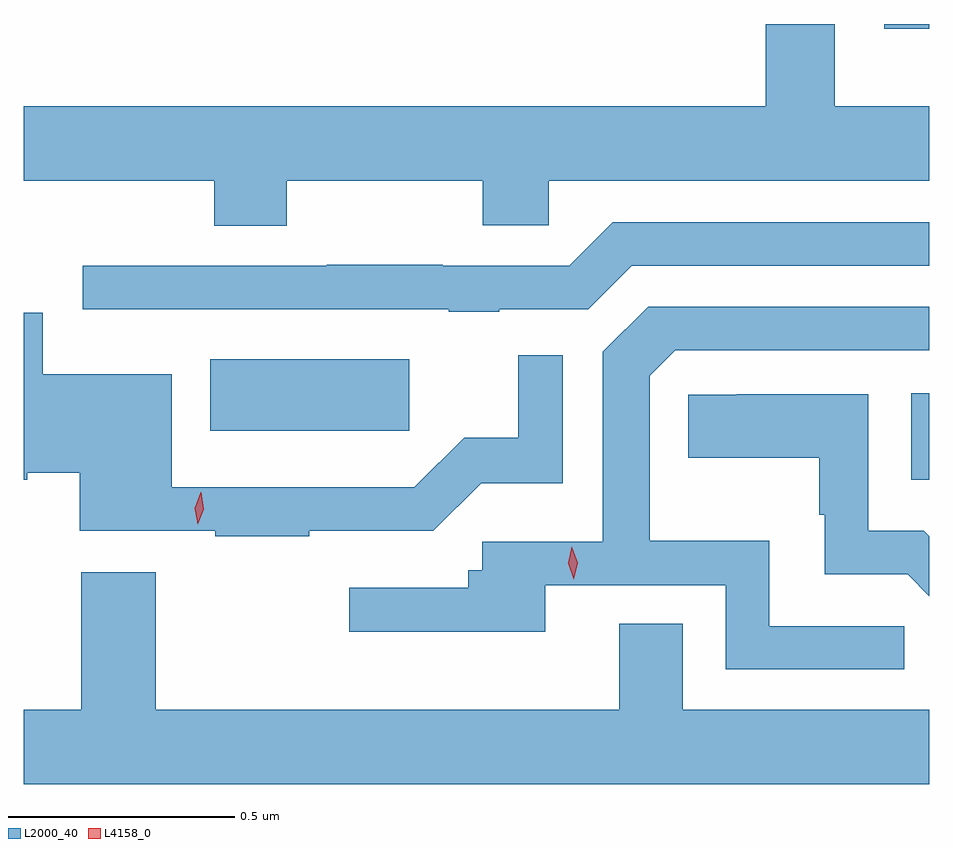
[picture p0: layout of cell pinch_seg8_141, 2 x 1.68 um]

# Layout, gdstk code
import gdstk
lib = gdstk.Library(unit=1e-6, precision=1e-09)
def R(c, l, rs):  # rectangles x0, y0, x1, y1
    for r in rs: c.add(gdstk.rectangle(r[:2], r[2:], *l))
def P(c, l, *ps):  # polygons
    for p in ps: c.add(gdstk.Polygon(p, *l))
L2000_40 = (2000, 40)
L4158_0 = (4158, 0)

pinch_seg8_141 = lib.new_cell('pinch_seg8_141')
R(pinch_seg8_141, L2000_40, [(845.852,1138.484,845.892,1138.675), (844.304,1138.592,844.744,1138.75), (845.792,1139.48,845.892,1139.49)])
P(pinch_seg8_141, L2000_40, [(844.473,1139.144),(844.906,1139.144),(844.906,1139.046),(845.052,1139.046),(845.052,1139.144),(845.892,1139.144),(845.892,1139.308),(845.683,1139.308),(845.683,1139.49),(845.531,1139.49),(845.531,1139.308),(843.892,1139.308),(843.892,1139.144),(844.313,1139.144),(844.313,1139.045),(844.473,1139.045)],
  [(844.942,1138.86),(845.139,1138.86),(845.235,1138.956),(845.892,1138.956),(845.892,1139.052),(845.193,1139.052),(845.097,1138.956),(844.817,1138.956),(844.817,1138.958),(844.561,1138.958),(844.561,1138.956),(844.023,1138.956),(844.023,1138.86),(844.831,1138.86),(844.831,1138.855),(844.942,1138.855)],
  [(845.836,1138.16),(845.538,1138.16),(845.538,1138.349),(845.274,1138.349),(845.274,1138.713),(845.331,1138.77),(845.892,1138.77),(845.892,1138.866),(845.271,1138.866),(845.171,1138.766),(845.171,1138.347),(844.905,1138.347),(844.905,1138.284),(844.874,1138.284),(844.874,1138.245),(844.611,1138.245),(844.611,1138.148),(845.044,1138.148),(845.044,1138.251),(845.442,1138.251),(845.442,1138.065),(845.836,1138.065)],
  [(844.523,1138.371),(844.797,1138.371),(844.902,1138.476),(845.082,1138.476),(845.082,1138.759),(844.984,1138.759),(844.984,1138.577),(844.865,1138.577),(844.755,1138.467),(844.219,1138.467),(844.219,1138.717),(843.934,1138.717),(843.934,1138.852),(843.892,1138.852),(843.892,1138.484),(843.9,1138.484),(843.9,1138.499),(844.016,1138.499),(844.016,1138.371),(844.315,1138.371),(844.315,1138.359),(844.523,1138.359)],
  [(845.892,1138.359),(845.88,1138.371),(845.757,1138.371),(845.757,1138.672),(845.467,1138.672),(845.467,1138.671),(845.36,1138.671),(845.36,1138.532),(845.649,1138.532),(845.649,1138.407),(845.661,1138.407),(845.661,1138.275),(845.844,1138.275),(845.892,1138.227)],
  [(845.892,1137.976),(845.347,1137.976),(845.347,1138.166),(845.207,1138.166),(845.207,1137.976),(844.184,1137.976),(844.184,1138.279),(844.019,1138.279),(844.019,1137.976),(843.892,1137.976),(843.892,1137.812),(845.892,1137.812)])
P(pinch_seg8_141, L4158_0, [(845.107,1138.264),(845.107,1138.264),(845.095,1138.299),(845.102,1138.336),(845.102,1138.336),(845.102,1138.336),(845.115,1138.3),(845.107,1138.264)],
  [(844.276,1138.385),(844.276,1138.385),(844.27,1138.421),(844.283,1138.456),(844.283,1138.456),(844.284,1138.456),(844.29,1138.419),(844.276,1138.385)])

lib.write_gds('pinch_seg8_141.gds')
